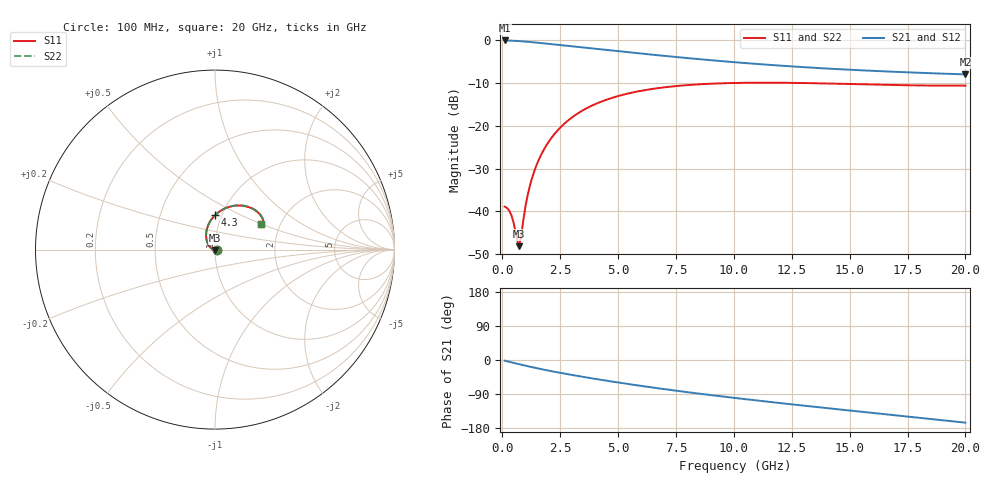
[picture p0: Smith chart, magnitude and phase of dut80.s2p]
! Touchstone file exported from HFSS 2023.1.0
!  File:  D:/Users/fzz/RDL_TSV/temp_RDL_TSV_80_1778747569.aedt
!  Generated:  4:41:52 %x4E0B%x5348  5%x6708 14, 2026
!  Design:  RDL_TSV
!  Project:  temp_RDL_TSV_80_1778747569
!  Setup:  Setup1
!  Solution:  Sweep
! Variables:
!  dtsv = 11.97um
!  hbump = 3um
!  htsv = 67.7um
!  ldown = 383.03um
!  lrdl = 281.22um
!  p = 40
!  p1 = 53.13um
!  rhole = 10um
!  subl = 2273.97um
!  t = 450um
!  tdown = 2.68um
!  trdl = 4.73um
!  viad = 10um
!  wdown = 24.08um
!  wrdl = 18.17um
!  xbump = 18um
# GHz S MA R 50.000000
! Terminal data exported
! Port[1] = TM1_1_T1
! Port[2] = TM1_4_T1
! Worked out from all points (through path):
!   200 points, 100 MHz to 20 GHz, reference 50 ohm
!   highest |S21| = -0.10 dB at 100 MHz (marker M1); lowest = -8.0 dB at 20 GHz (marker M2)
!   group delay of S21, straight-line fit = 21.5 ps
!   lowest |S11| = -48.1 dB at 700 MHz (marker M3), VSWR 1.01, Z = 50 - j0.394 ohm
!   |S11| at or under -10 dB: start of sweep to 10.26 GHz; 12.55 GHz to end of sweep
!   |S22| runs from -48.1 to -9.9 dB; largest |S21 - S12| = 1.4e-14
!   S11 on the Smith chart (normalised r, x): 100 MHz: 1.02, -0.00; 4.3 GHz: 0.93, +0.37; 20 GHz: 1.59, +0.50
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0.1  0.01139 -3.4  0.988 -1.6  0.988 -1.6  0.01139 -3.4
! Gamma 0 0 0 0
! Port Impedance 50 0 50 0
0.3  0.01022 -13.9  0.9846 -4.7  0.9846 -4.7  0.01022 -13.9
0.4  0.008927 -21.8  0.9821 -6.2  0.9821 -6.2  0.008919 -21.9
0.5  0.007205 -33.1  0.9791 -7.7  0.9791 -7.7  0.007193 -33.2
0.7  0.003936 -89.9  0.972 -10.7  0.972 -10.7  0.003931 -90.3
0.8  0.004789 -138.4  0.9678 -12.2  0.9678 -12.2  0.00481 -138.8
1  0.01143 179.9  0.9586 -15.0  0.9586 -15.0  0.01148 179.8
1.1  0.01571 170.9  0.9535 -16.4  0.9535 -16.4  0.01578 170.8
1.3  0.02529 158.9  0.9428 -19.1  0.9428 -19.1  0.02539 158.9
1.6  0.04141 146.5  0.9256 -23.0  0.9256 -23.0  0.04155 146.5
2  0.06475 134.0  0.9018 -28.0  0.9018 -28.0  0.06496 134.1
2.4  0.08889 123.8  0.878 -32.7  0.878 -32.7  0.08918 123.8
2.9  0.1187 112.9  0.8491 -38.3  0.8491 -38.3  0.1191 112.9
3.5  0.1524 101.9  0.816 -44.6  0.816 -44.6  0.1529 101.9
4.3  0.1923 89.7  0.7745 -52.7  0.7745 -52.7  0.1929 89.7
5.4  0.2366 76.1  0.7216 -63.0  0.7216 -63.0  0.2374 76.2
6.8  0.2763 62.7  0.6609 -75.2  0.6609 -75.2  0.2773 62.8
8.4  0.303 51.1  0.6011 -88.0  0.6011 -88.0  0.3042 51.2
10.1  0.3157 42.0  0.5488 -100.5  0.5488 -100.5  0.317 42.1
13.4  0.3136 31.2  0.4753 -122.9  0.4753 -122.9  0.3151 31.4
16.7  0.2994 27.6  0.4284 -144.2  0.4284 -144.2  0.301 27.7
20  0.2938 29.2  0.397 -165.3  0.397 -165.3  0.2955 29.3
